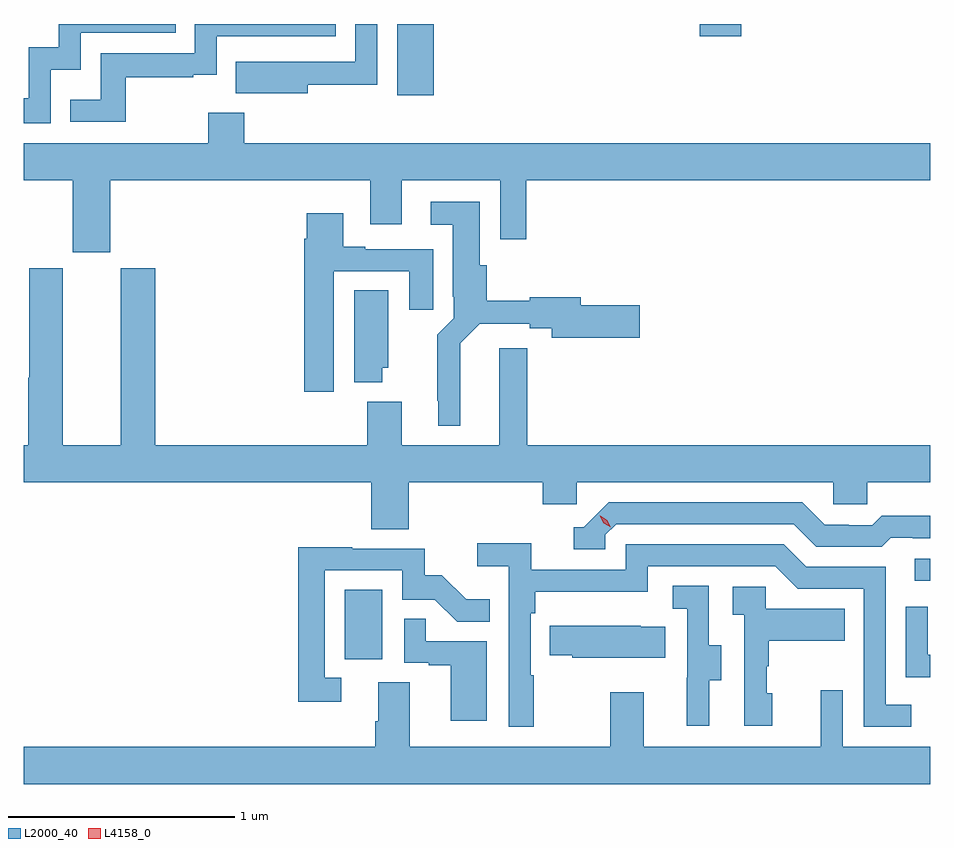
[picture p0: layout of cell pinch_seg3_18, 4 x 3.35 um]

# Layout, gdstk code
import gdstk
lib = gdstk.Library(unit=1e-6, precision=1e-09)
def R(c, l, rs):  # rectangles x0, y0, x1, y1
    for r in rs: c.add(gdstk.rectangle(r[:2], r[2:], *l))
def P(c, l, *ps):  # polygons
    for p in ps: c.add(gdstk.Polygon(p, *l))
L2000_40 = (2000, 40)
L4158_0 = (4158, 0)

pinch_seg3_18 = lib.new_cell('pinch_seg3_18')
R(pinch_seg3_18, L2000_40, [(1129.91,732.102,1130.074,732.409), (1132.425,732.45,1132.493,732.546), (1130.141,734.592,1130.302,734.906), (1131.476,734.853,1131.659,734.906)])
P(pinch_seg3_18, L2000_40, [(1128.612,734.705),(1128.744,734.705),(1128.744,734.868),(1129.163,734.868),(1129.163,734.906),(1128.648,734.906),(1128.648,734.803),(1128.515,734.803),(1128.515,734.578),(1128.493,734.578),(1128.493,734.469),(1128.612,734.469)],
  [(1129.747,734.638),(1130.052,734.638),(1130.052,734.906),(1129.956,734.906),(1129.956,734.739),(1129.643,734.739),(1129.643,734.74),(1129.429,734.74),(1129.429,734.6),(1129.747,734.6)],
  [(1128.943,734.67),(1129.241,734.67),(1129.241,734.681),(1129.344,734.681),(1129.344,734.853),(1129.87,734.853),(1129.87,734.906),(1129.248,734.906),(1129.248,734.778),(1128.832,734.778),(1128.832,734.572),(1128.697,734.572),(1128.697,734.475),(1128.943,734.475)],
  [(1128.874,734.216),(1130.021,734.216),(1130.021,734.022),(1130.161,734.022),(1130.161,734.216),(1130.595,734.216),(1130.595,733.956),(1130.711,733.956),(1130.711,734.216),(1132.493,734.216),(1132.493,734.38),(1129.466,734.38),(1129.466,734.515),(1129.306,734.515),(1129.306,734.38),(1128.493,734.38),(1128.493,734.216),(1128.71,734.216),(1128.71,733.899),(1128.874,733.899)],
  [(1130.419,733.496),(1130.506,733.584),(1130.726,733.584),(1130.726,733.564),(1130.822,733.564),(1130.822,733.522),(1131.211,733.522),(1131.211,733.664),(1130.95,733.664),(1130.95,733.7),(1130.726,733.7),(1130.726,733.685),(1130.537,733.685),(1130.537,733.842),(1130.506,733.842),(1130.506,734.122),(1130.289,734.122),(1130.289,734.021),(1130.387,734.021),(1130.387,733.702),(1130.391,733.702),(1130.391,733.608),(1130.317,733.534),(1130.317,733.243),(1130.321,733.243),(1130.321,733.133),(1130.419,733.133)],
  [(1129.861,733.815),(1130.195,733.815),(1130.195,733.644),(1130.299,733.644),(1130.299,733.911),(1129.999,733.911),(1129.999,733.924),(1129.903,733.924),(1129.903,734.071),(1129.742,734.071),(1129.742,733.958),(1129.73,733.958),(1129.73,733.284),(1129.861,733.284)],
  [(1130.192,732.884),(1130.783,732.884),(1130.783,732.786),(1130.934,732.786),(1130.934,732.884),(1132.065,732.884),(1132.065,732.786),(1132.215,732.786),(1132.215,732.884),(1132.493,732.884),(1132.493,733.048),(1130.714,733.048),(1130.714,733.474),(1130.591,733.474),(1130.591,733.048),(1130.161,733.048),(1130.161,733.24),(1130.009,733.24),(1130.009,733.048),(1129.073,733.048),(1129.073,733.827),(1128.92,733.827),(1128.92,733.048),(1128.664,733.048),(1128.664,733.827),(1128.517,733.827),(1128.517,733.344),(1128.512,733.344),(1128.512,733.048),(1128.493,733.048),(1128.493,732.884),(1130.027,732.884),(1130.027,732.676),(1130.192,732.676)],
  [(1130.074,733.389),(1130.101,733.389),(1130.101,733.73),(1129.952,733.73),(1129.952,733.325),(1130.074,733.325)],
  [(1131.06,732.651),(1131.108,732.699),(1131.891,732.699),(1131.99,732.6),(1132.279,732.6),(1132.318,732.639),(1132.417,732.639),(1132.417,732.636),(1132.493,732.636),(1132.493,732.736),(1132.279,732.736),(1132.237,732.693),(1132.134,732.693),(1132.134,732.696),(1132.027,732.696),(1131.928,732.795),(1131.075,732.795),(1130.964,732.684),(1130.921,732.684),(1130.921,732.588),(1131.06,732.588)],
  [(1130.743,732.032),(1130.73,732.032),(1130.73,732.305),(1130.75,732.305),(1130.75,732.401),(1131.246,732.401),(1131.246,732.513),(1131.81,732.513),(1131.909,732.414),(1132.2,732.414),(1132.2,731.805),(1132.409,731.805),(1132.409,731.901),(1132.296,731.901),(1132.296,732.51),(1131.946,732.51),(1131.847,732.609),(1131.15,732.609),(1131.15,732.498),(1130.732,732.498),(1130.732,732.614),(1130.493,732.614),(1130.493,732.512),(1130.634,732.512),(1130.634,731.805),(1130.743,731.805)],
  [(1129.894,732.021),(1129.821,732.021),(1129.821,732.495),(1130.163,732.495),(1130.163,732.366),(1130.307,732.366),(1130.405,732.268),(1130.549,732.268),(1130.549,732.367),(1130.445,732.367),(1130.338,732.474),(1130.262,732.474),(1130.262,732.591),(1129.943,732.591),(1129.943,732.596),(1129.705,732.596),(1129.705,731.916),(1129.894,731.916)],
  [(1131.517,732.01),(1131.571,732.01),(1131.571,732.165),(1131.516,732.165),(1131.516,732.428),(1131.357,732.428),(1131.357,732.325),(1131.42,732.325),(1131.42,732.021),(1131.419,732.021),(1131.419,731.808),(1131.517,731.808)],
  [(1131.796,731.952),(1131.771,731.952),(1131.771,732.071),(1131.781,732.071),(1131.781,732.185),(1132.115,732.185),(1132.115,732.325),(1131.768,732.325),(1131.768,732.423),(1131.621,732.423),(1131.621,732.299),(1131.672,732.299),(1131.672,731.808),(1131.796,731.808)],
  [(1132.493,732.122),(1132.482,732.122),(1132.482,732.334),(1132.386,732.334),(1132.386,732.024),(1132.493,732.024)],
  [(1130.536,732.183),(1130.267,732.183),(1130.267,732.281),(1130.172,732.281),(1130.172,732.087),(1130.279,732.087),(1130.279,732.075),(1130.378,732.075),(1130.378,731.832),(1130.536,731.832)],
  [(1131.323,732.247),(1131.215,732.247),(1131.215,732.25),(1130.815,732.25),(1130.815,732.121),(1130.913,732.121),(1130.913,732.11),(1131.323,732.11)],
  [(1132.493,731.716),(1132.107,731.716),(1132.107,731.965),(1132.01,731.965),(1132.01,731.716),(1131.229,731.716),(1131.229,731.956),(1131.082,731.956),(1131.082,731.716),(1130.197,731.716),(1130.197,732.002),(1130.057,732.002),(1130.057,731.828),(1130.045,731.828),(1130.045,731.716),(1128.493,731.716),(1128.493,731.552),(1132.493,731.552)])
P(pinch_seg3_18, L4158_0, [(1131.083,732.684),(1131.052,732.703),(1131.035,732.736),(1131.035,732.736),(1131.036,732.736),(1131.067,732.717),(1131.083,732.684),(1131.083,732.684)])

lib.write_gds('pinch_seg3_18.gds')
